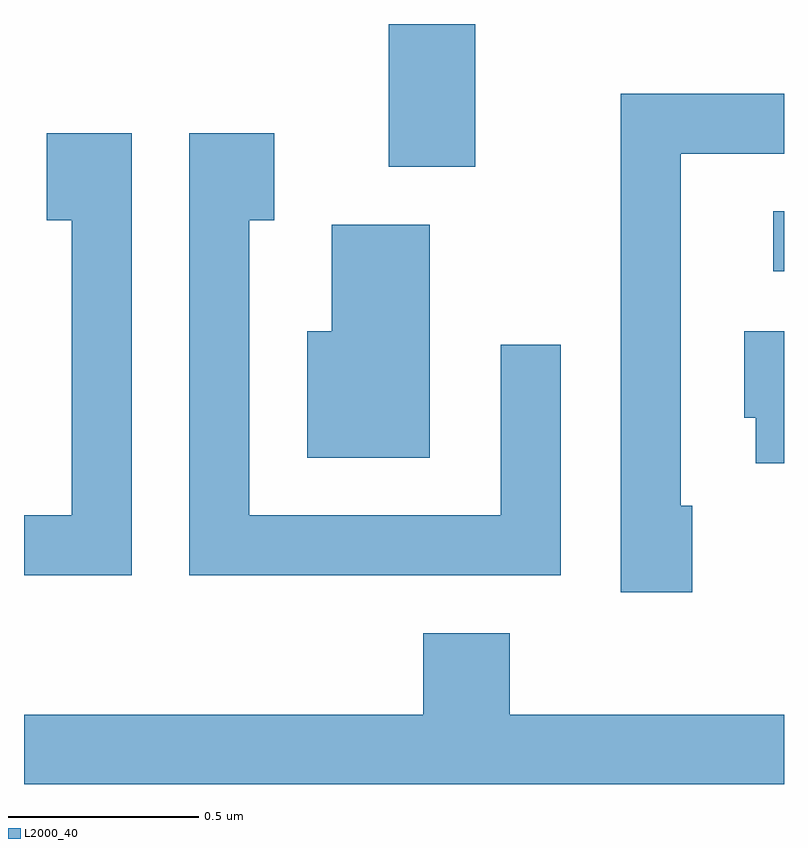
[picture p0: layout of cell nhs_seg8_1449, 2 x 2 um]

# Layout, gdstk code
import gdstk
lib = gdstk.Library(unit=1e-6, precision=1e-09)
def R(c, l, rs):  # rectangles x0, y0, x1, y1
    for r in rs: c.add(gdstk.rectangle(r[:2], r[2:], *l))
def P(c, l, *ps):  # polygons
    for p in ps: c.add(gdstk.Polygon(p, *l))
L2000_40 = (2000, 40)

nhs_seg8_1449 = lib.new_cell('nhs_seg8_1449')
R(nhs_seg8_1449, L2000_40, [(197.583,1886.691,197.611,1886.849), (196.571,1886.966,196.799,1887.342)])
P(nhs_seg8_1449, L2000_40, [(197.369,1886.074),(197.339,1886.074),(197.339,1887.001),(197.611,1887.001),(197.611,1887.159),(197.181,1887.159),(197.181,1885.846),(197.369,1885.846)],
  [(195.894,1887.054),(195.671,1887.054),(195.671,1886.826),(195.736,1886.826),(195.736,1886.049),(195.611,1886.049),(195.611,1885.891),(195.894,1885.891)],
  [(197.024,1886.498),(196.866,1886.498),(196.866,1886.049),(196.204,1886.049),(196.204,1886.826),(196.269,1886.826),(196.269,1887.054),(196.046,1887.054),(196.046,1885.891),(197.024,1885.891)],
  [(196.679,1886.814),(196.421,1886.814),(196.421,1886.534),(196.356,1886.534),(196.356,1886.201),(196.679,1886.201)],
  [(197.611,1886.534),(197.506,1886.534),(197.506,1886.306),(197.536,1886.306),(197.536,1886.186),(197.611,1886.186)],
  [(197.611,1885.524),(196.889,1885.524),(196.889,1885.739),(196.661,1885.739),(196.661,1885.524),(195.611,1885.524),(195.611,1885.342),(197.611,1885.342)])

lib.write_gds('nhs_seg8_1449.gds')
